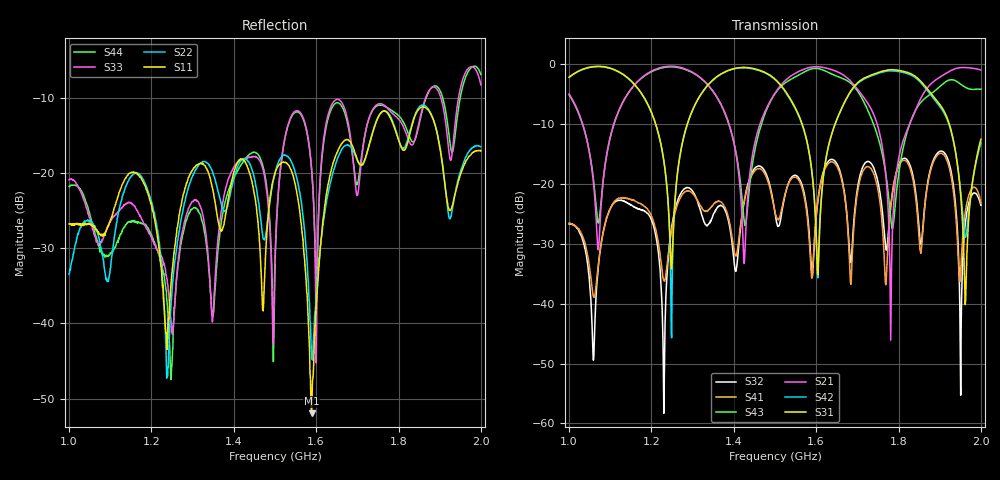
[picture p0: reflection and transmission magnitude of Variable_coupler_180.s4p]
#  HZ  S  DB  R  50.00
! Rohde & Schwarz Vector Network Analyzer
! Rohde-Schwarz,ZNB8-4Port,1311601044102961,2.82
! Created: UTC 1/17/2019, 3:21:58 PM
! freq[Hz]  db:S11  ang:S11  db:S12  ang:S12  db:S13  ang:S13  db:S14  ang:S14
!  db:S21  ang:S21  db:S22  ang:S22  db:S23  ang:S23  db:S24  ang:S24
!  db:S31  ang:S31  db:S32  ang:S32  db:S33  ang:S33  db:S34  ang:S34
!  db:S41  ang:S41  db:S42  ang:S42  db:S43  ang:S43  db:S44  ang:S44
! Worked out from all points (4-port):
!   1001 points, 1 GHz to 2 GHz, reference 50 ohm
!   strongest paths, dB at 1 GHz, 1.25 GHz, 1.5 GHz, 1.75 GHz, 2 GHz:
!     S31: -2.1, -32.8, -2.5, -1.4, -12.5
!     S42: -2.2, -37.8, -2.5, -1.5, -13.1
!     S21: -4.9, -0.3, -4.8, -10.4, -0.9
!     S43: -5.1, -0.4, -4.9, -12.2, -4.2
!     S41: -26.5, -27.2, -24.6, -20.9, -23.2
!     S32: -26.7, -26.8, -24.8, -19.6, -23.5
!   lowest |S11| = -52.0 dB at 1.589 GHz (marker M1), VSWR 1.01, Z = 49.8 + j0.178 ohm
!   |S11| at or under -10 dB: start of sweep to end of sweep
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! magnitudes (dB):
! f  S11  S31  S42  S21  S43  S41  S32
! 1 GHz  -26.7  -2.1  -2.2  -4.9  -5.1  -26.5  -26.7
! 1.071 GHz  -27.8  -0.3  -0.4  -31.0  -26.5  -33.4  -33.7
! 1.249 GHz  -33.7  -34.2  -45.7  -0.3  -0.4  -27.6  -27.2
! 1.425 GHz  -18.3  -0.5  -0.6  -33.3  -26.1  -23.0  -22.9
! 1.589 GHz  -52.0  -17.5  -17.6  -0.5  -0.8  -35.7  -34.9
! 1.781 GHz  -12.7  -0.9  -1.1  -46.1  -25.7  -23.8  -23.7
! 2 GHz  -17.0  -12.5  -13.1  -0.9  -4.2  -23.2  -23.5
